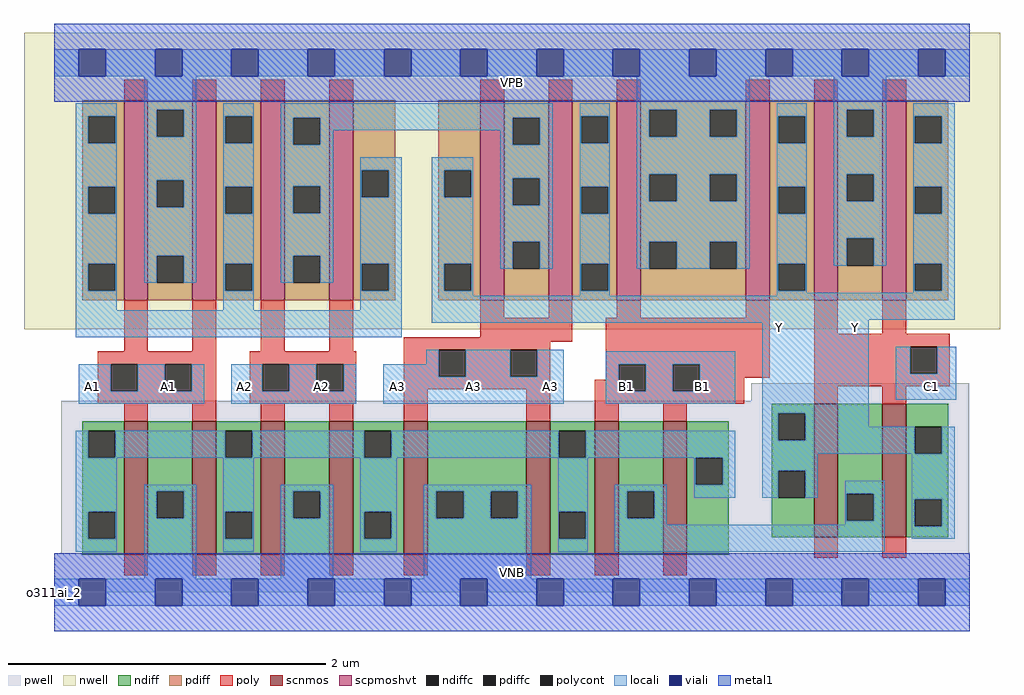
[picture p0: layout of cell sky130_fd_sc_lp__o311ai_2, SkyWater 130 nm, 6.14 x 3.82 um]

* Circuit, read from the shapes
.subckt sky130_fd_sc_lp__o311ai_2 A1 A2 A3 B1 C1 VGND VNB VPB VPWR Y
XM1 VGND A1 n1 VNB sky130_fd_pr__nfet_01v8 w=0.84 l=0.15 m=2
XM2 VGND A2 n1 VNB sky130_fd_pr__nfet_01v8 w=0.84 l=0.15 m=2
XM3 VGND A3 n1 VNB sky130_fd_pr__nfet_01v8 w=0.84 l=0.15 m=2
XM4 n2 B1 n1 VNB sky130_fd_pr__nfet_01v8 w=0.84 l=0.15 m=2
XM5 n2 C1 Y VNB sky130_fd_pr__nfet_01v8 w=0.84 l=0.15 m=2
XM6 VPWR A1 n3 VPB sky130_fd_pr__pfet_01v8_hvt w=1.26 l=0.15 m=2
XM7 n4 A2 n3 VPB sky130_fd_pr__pfet_01v8_hvt w=1.26 l=0.15 m=2
XM8 n4 A3 Y VPB sky130_fd_pr__pfet_01v8_hvt w=1.26 l=0.15 m=2
XM9 VPWR B1 Y VPB sky130_fd_pr__pfet_01v8_hvt w=1.26 l=0.15 m=2
XM10 VPWR C1 Y VPB sky130_fd_pr__pfet_01v8_hvt w=1.26 l=0.15 m=2
.ends

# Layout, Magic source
magic
tech sky130A
magscale 1 2
<< nwell >>
rect -38 331 1190 704
<< pwell >>
rect 877 241 1151 263
rect 9 49 1151 241
rect 0 0 1152 49
<< scnmos >>
rect 88 47 118 215
rect 174 47 204 215
rect 260 47 290 215
rect 346 47 376 215
rect 440 47 470 215
rect 594 47 624 215
rect 680 47 710 215
rect 766 47 796 215
rect 956 69 986 237
rect 1042 69 1072 237
<< scpmoshvt >>
rect 88 367 118 619
rect 174 367 204 619
rect 260 367 290 619
rect 346 367 376 619
rect 536 367 566 619
rect 622 367 652 619
rect 708 367 738 619
rect 870 367 900 619
rect 956 367 986 619
rect 1042 367 1072 619
<< ndiff >>
rect 903 225 956 237
rect 35 203 88 215
rect 35 169 43 203
rect 77 169 88 203
rect 35 101 88 169
rect 35 67 43 101
rect 77 67 88 101
rect 35 47 88 67
rect 118 127 174 215
rect 118 93 129 127
rect 163 93 174 127
rect 118 47 174 93
rect 204 203 260 215
rect 204 169 215 203
rect 249 169 260 203
rect 204 101 260 169
rect 204 67 215 101
rect 249 67 260 101
rect 204 47 260 67
rect 290 127 346 215
rect 290 93 301 127
rect 335 93 346 127
rect 290 47 346 93
rect 376 203 440 215
rect 376 169 390 203
rect 424 169 440 203
rect 376 101 440 169
rect 376 67 390 101
rect 424 67 440 101
rect 376 47 440 67
rect 470 127 594 215
rect 470 93 481 127
rect 515 93 549 127
rect 583 93 594 127
rect 470 47 594 93
rect 624 203 680 215
rect 624 169 635 203
rect 669 169 680 203
rect 624 101 680 169
rect 624 67 635 101
rect 669 67 680 101
rect 624 47 680 67
rect 710 127 766 215
rect 710 93 721 127
rect 755 93 766 127
rect 710 47 766 93
rect 796 169 849 215
rect 796 135 807 169
rect 841 135 849 169
rect 796 47 849 135
rect 903 191 911 225
rect 945 191 956 225
rect 903 153 956 191
rect 903 119 911 153
rect 945 119 956 153
rect 903 69 956 119
rect 986 124 1042 237
rect 986 90 997 124
rect 1031 90 1042 124
rect 986 69 1042 90
rect 1072 208 1125 237
rect 1072 174 1083 208
rect 1117 174 1125 208
rect 1072 117 1125 174
rect 1072 83 1083 117
rect 1117 83 1125 117
rect 1072 69 1125 83
<< pdiff >>
rect 35 599 88 619
rect 35 565 43 599
rect 77 565 88 599
rect 35 510 88 565
rect 35 476 43 510
rect 77 476 88 510
rect 35 413 88 476
rect 35 379 43 413
rect 77 379 88 413
rect 35 367 88 379
rect 118 607 174 619
rect 118 573 129 607
rect 163 573 174 607
rect 118 518 174 573
rect 118 484 129 518
rect 163 484 174 518
rect 118 423 174 484
rect 118 389 129 423
rect 163 389 174 423
rect 118 367 174 389
rect 204 599 260 619
rect 204 565 215 599
rect 249 565 260 599
rect 204 510 260 565
rect 204 476 215 510
rect 249 476 260 510
rect 204 413 260 476
rect 204 379 215 413
rect 249 379 260 413
rect 204 367 260 379
rect 290 597 346 619
rect 290 563 301 597
rect 335 563 346 597
rect 290 511 346 563
rect 290 477 301 511
rect 335 477 346 511
rect 290 423 346 477
rect 290 389 301 423
rect 335 389 346 423
rect 290 367 346 389
rect 376 531 429 619
rect 376 497 387 531
rect 421 497 429 531
rect 376 413 429 497
rect 376 379 387 413
rect 421 379 429 413
rect 376 367 429 379
rect 483 531 536 619
rect 483 497 491 531
rect 525 497 536 531
rect 483 413 536 497
rect 483 379 491 413
rect 525 379 536 413
rect 483 367 536 379
rect 566 597 622 619
rect 566 563 577 597
rect 611 563 622 597
rect 566 521 622 563
rect 566 487 577 521
rect 611 487 622 521
rect 566 441 622 487
rect 566 407 577 441
rect 611 407 622 441
rect 566 367 622 407
rect 652 599 708 619
rect 652 565 663 599
rect 697 565 708 599
rect 652 510 708 565
rect 652 476 663 510
rect 697 476 708 510
rect 652 413 708 476
rect 652 379 663 413
rect 697 379 708 413
rect 652 367 708 379
rect 738 607 870 619
rect 738 573 749 607
rect 783 573 825 607
rect 859 573 870 607
rect 738 526 870 573
rect 738 492 749 526
rect 783 492 825 526
rect 859 492 870 526
rect 738 441 870 492
rect 738 407 749 441
rect 783 407 825 441
rect 859 407 870 441
rect 738 367 870 407
rect 900 599 956 619
rect 900 565 911 599
rect 945 565 956 599
rect 900 510 956 565
rect 900 476 911 510
rect 945 476 956 510
rect 900 413 956 476
rect 900 379 911 413
rect 945 379 956 413
rect 900 367 956 379
rect 986 607 1042 619
rect 986 573 997 607
rect 1031 573 1042 607
rect 986 526 1042 573
rect 986 492 997 526
rect 1031 492 1042 526
rect 986 445 1042 492
rect 986 411 997 445
rect 1031 411 1042 445
rect 986 367 1042 411
rect 1072 599 1125 619
rect 1072 565 1083 599
rect 1117 565 1125 599
rect 1072 510 1125 565
rect 1072 476 1083 510
rect 1117 476 1125 510
rect 1072 413 1125 476
rect 1072 379 1083 413
rect 1117 379 1125 413
rect 1072 367 1125 379
<< ndiffc >>
rect 43 169 77 203
rect 43 67 77 101
rect 129 93 163 127
rect 215 169 249 203
rect 215 67 249 101
rect 301 93 335 127
rect 390 169 424 203
rect 390 67 424 101
rect 481 93 515 127
rect 549 93 583 127
rect 635 169 669 203
rect 635 67 669 101
rect 721 93 755 127
rect 807 135 841 169
rect 911 191 945 225
rect 911 119 945 153
rect 997 90 1031 124
rect 1083 174 1117 208
rect 1083 83 1117 117
<< pdiffc >>
rect 43 565 77 599
rect 43 476 77 510
rect 43 379 77 413
rect 129 573 163 607
rect 129 484 163 518
rect 129 389 163 423
rect 215 565 249 599
rect 215 476 249 510
rect 215 379 249 413
rect 301 563 335 597
rect 301 477 335 511
rect 301 389 335 423
rect 387 497 421 531
rect 387 379 421 413
rect 491 497 525 531
rect 491 379 525 413
rect 577 563 611 597
rect 577 487 611 521
rect 577 407 611 441
rect 663 565 697 599
rect 663 476 697 510
rect 663 379 697 413
rect 749 573 783 607
rect 825 573 859 607
rect 749 492 783 526
rect 825 492 859 526
rect 749 407 783 441
rect 825 407 859 441
rect 911 565 945 599
rect 911 476 945 510
rect 911 379 945 413
rect 997 573 1031 607
rect 997 492 1031 526
rect 997 411 1031 445
rect 1083 565 1117 599
rect 1083 476 1117 510
rect 1083 379 1117 413
<< poly >>
rect 88 619 118 645
rect 174 619 204 645
rect 260 619 290 645
rect 346 619 376 645
rect 536 619 566 645
rect 622 619 652 645
rect 708 619 738 645
rect 870 619 900 645
rect 956 619 986 645
rect 1042 619 1072 645
rect 88 303 118 367
rect 174 303 204 367
rect 260 303 290 367
rect 346 303 376 367
rect 536 345 566 367
rect 622 345 652 367
rect 708 345 738 367
rect 870 345 900 367
rect 536 321 652 345
rect 440 315 652 321
rect 440 305 624 315
rect 55 287 204 303
rect 55 253 71 287
rect 105 253 139 287
rect 173 253 204 287
rect 55 237 204 253
rect 246 287 380 303
rect 246 253 262 287
rect 296 253 330 287
rect 364 253 380 287
rect 246 237 380 253
rect 440 271 484 305
rect 518 271 574 305
rect 608 271 624 305
rect 440 255 624 271
rect 694 287 900 345
rect 694 267 710 287
rect 88 215 118 237
rect 174 215 204 237
rect 260 215 290 237
rect 346 215 376 237
rect 440 215 470 255
rect 594 215 624 255
rect 680 253 710 267
rect 744 253 778 287
rect 812 270 900 287
rect 956 325 986 367
rect 1042 325 1072 367
rect 956 309 1127 325
rect 956 275 1077 309
rect 1111 275 1127 309
rect 812 253 868 270
rect 680 237 868 253
rect 956 259 1127 275
rect 956 237 986 259
rect 1042 237 1072 259
rect 680 215 710 237
rect 766 215 796 237
rect 88 21 118 47
rect 174 21 204 47
rect 260 21 290 47
rect 346 21 376 47
rect 440 21 470 47
rect 594 21 624 47
rect 680 21 710 47
rect 766 21 796 47
rect 956 43 986 69
rect 1042 43 1072 69
<< polycont >>
rect 71 253 105 287
rect 139 253 173 287
rect 262 253 296 287
rect 330 253 364 287
rect 484 271 518 305
rect 574 271 608 305
rect 710 253 744 287
rect 778 253 812 287
rect 1077 275 1111 309
<< locali >>
rect 0 649 31 683
rect 65 649 127 683
rect 161 649 223 683
rect 257 649 319 683
rect 353 649 415 683
rect 449 649 511 683
rect 545 649 607 683
rect 641 649 703 683
rect 737 649 799 683
rect 833 649 895 683
rect 929 649 991 683
rect 1025 649 1087 683
rect 1121 649 1152 683
rect 27 599 79 615
rect 27 565 43 599
rect 77 565 79 599
rect 27 510 79 565
rect 27 476 43 510
rect 77 476 79 510
rect 27 413 79 476
rect 27 379 43 413
rect 77 379 79 413
rect 113 607 179 649
rect 113 573 129 607
rect 163 573 179 607
rect 113 518 179 573
rect 113 484 129 518
rect 163 484 179 518
rect 113 423 179 484
rect 113 389 129 423
rect 163 389 179 423
rect 213 599 251 615
rect 213 565 215 599
rect 249 565 251 599
rect 213 510 251 565
rect 213 476 215 510
rect 249 476 251 510
rect 213 413 251 476
rect 27 355 79 379
rect 213 379 215 413
rect 249 379 251 413
rect 285 597 627 615
rect 285 563 301 597
rect 335 581 577 597
rect 335 563 351 581
rect 285 511 351 563
rect 561 563 577 581
rect 611 563 627 597
rect 285 477 301 511
rect 335 477 351 511
rect 285 423 351 477
rect 285 389 301 423
rect 335 389 351 423
rect 385 531 437 547
rect 385 497 387 531
rect 421 497 437 531
rect 385 413 437 497
rect 213 355 251 379
rect 385 379 387 413
rect 421 379 437 413
rect 385 355 437 379
rect 27 321 437 355
rect 475 531 527 547
rect 475 497 491 531
rect 525 497 527 531
rect 475 413 527 497
rect 475 379 491 413
rect 525 379 527 413
rect 561 521 627 563
rect 561 487 577 521
rect 611 487 627 521
rect 561 441 627 487
rect 561 407 577 441
rect 611 407 627 441
rect 661 599 699 615
rect 661 565 663 599
rect 697 565 699 599
rect 661 510 699 565
rect 661 476 663 510
rect 697 476 699 510
rect 661 413 699 476
rect 475 373 527 379
rect 661 379 663 413
rect 697 379 699 413
rect 733 607 875 649
rect 733 573 749 607
rect 783 573 825 607
rect 859 573 875 607
rect 733 526 875 573
rect 733 492 749 526
rect 783 492 825 526
rect 859 492 875 526
rect 733 441 875 492
rect 733 407 749 441
rect 783 407 825 441
rect 859 407 875 441
rect 909 599 947 615
rect 909 565 911 599
rect 945 565 947 599
rect 909 510 947 565
rect 909 476 911 510
rect 945 476 947 510
rect 909 413 947 476
rect 661 373 699 379
rect 909 379 911 413
rect 945 379 947 413
rect 981 607 1047 649
rect 981 573 997 607
rect 1031 573 1047 607
rect 981 526 1047 573
rect 981 492 997 526
rect 1031 492 1047 526
rect 981 445 1047 492
rect 981 411 997 445
rect 1031 411 1047 445
rect 1081 599 1133 615
rect 1081 565 1083 599
rect 1117 565 1133 599
rect 1081 510 1133 565
rect 1081 476 1083 510
rect 1117 476 1133 510
rect 1081 413 1133 476
rect 909 377 947 379
rect 1081 379 1083 413
rect 1117 379 1133 413
rect 1081 377 1133 379
rect 909 373 1133 377
rect 475 343 1133 373
rect 475 339 1025 343
rect 468 287 484 305
rect 31 253 71 287
rect 105 253 139 287
rect 173 253 189 287
rect 31 237 189 253
rect 223 253 262 287
rect 296 253 330 287
rect 364 253 380 287
rect 223 237 380 253
rect 414 271 484 287
rect 518 271 574 305
rect 608 271 641 305
rect 414 237 641 271
rect 694 287 857 303
rect 694 253 710 287
rect 744 253 778 287
rect 812 253 857 287
rect 694 237 857 253
rect 891 225 1025 339
rect 1059 275 1077 309
rect 1111 275 1135 309
rect 1059 242 1135 275
rect 27 169 43 203
rect 77 169 215 203
rect 249 169 390 203
rect 424 169 635 203
rect 669 169 857 203
rect 27 101 79 169
rect 27 67 43 101
rect 77 67 79 101
rect 27 51 79 67
rect 113 127 179 135
rect 113 93 129 127
rect 163 93 179 127
rect 113 17 179 93
rect 213 101 251 169
rect 213 67 215 101
rect 249 67 251 101
rect 213 51 251 67
rect 285 127 351 135
rect 285 93 301 127
rect 335 93 351 127
rect 285 17 351 93
rect 385 101 431 169
rect 385 67 390 101
rect 424 67 431 101
rect 385 51 431 67
rect 465 127 600 135
rect 465 93 481 127
rect 515 93 549 127
rect 583 93 600 127
rect 465 17 600 93
rect 634 101 671 169
rect 805 135 807 169
rect 841 135 857 169
rect 634 67 635 101
rect 669 67 671 101
rect 634 51 671 67
rect 705 127 771 135
rect 705 93 721 127
rect 755 93 771 127
rect 805 119 857 135
rect 891 191 911 225
rect 945 208 1025 225
rect 945 191 1083 208
rect 891 174 1083 191
rect 1117 174 1133 208
rect 891 153 961 174
rect 891 119 911 153
rect 945 119 961 153
rect 995 124 1045 140
rect 705 85 771 93
rect 995 90 997 124
rect 1031 90 1045 124
rect 995 85 1045 90
rect 705 51 1045 85
rect 1079 117 1133 174
rect 1079 83 1083 117
rect 1117 83 1133 117
rect 1079 67 1133 83
rect 0 -17 31 17
rect 65 -17 127 17
rect 161 -17 223 17
rect 257 -17 319 17
rect 353 -17 415 17
rect 449 -17 511 17
rect 545 -17 607 17
rect 641 -17 703 17
rect 737 -17 799 17
rect 833 -17 895 17
rect 929 -17 991 17
rect 1025 -17 1087 17
rect 1121 -17 1152 17
<< viali >>
rect 31 649 65 683
rect 127 649 161 683
rect 223 649 257 683
rect 319 649 353 683
rect 415 649 449 683
rect 511 649 545 683
rect 607 649 641 683
rect 703 649 737 683
rect 799 649 833 683
rect 895 649 929 683
rect 991 649 1025 683
rect 1087 649 1121 683
rect 31 -17 65 17
rect 127 -17 161 17
rect 223 -17 257 17
rect 319 -17 353 17
rect 415 -17 449 17
rect 511 -17 545 17
rect 607 -17 641 17
rect 703 -17 737 17
rect 799 -17 833 17
rect 895 -17 929 17
rect 991 -17 1025 17
rect 1087 -17 1121 17
<< metal1 >>
rect 0 683 1152 715
rect 0 649 31 683
rect 65 649 127 683
rect 161 649 223 683
rect 257 649 319 683
rect 353 649 415 683
rect 449 649 511 683
rect 545 649 607 683
rect 641 649 703 683
rect 737 649 799 683
rect 833 649 895 683
rect 929 649 991 683
rect 1025 649 1087 683
rect 1121 649 1152 683
rect 0 617 1152 649
rect 0 17 1152 49
rect 0 -17 31 17
rect 65 -17 127 17
rect 161 -17 223 17
rect 257 -17 319 17
rect 353 -17 415 17
rect 449 -17 511 17
rect 545 -17 607 17
rect 641 -17 703 17
rect 737 -17 799 17
rect 833 -17 895 17
rect 929 -17 991 17
rect 1025 -17 1087 17
rect 1121 -17 1152 17
rect 0 -49 1152 -17
<< labels >>
flabel pwell s 0 0 1152 49 0 FreeSans 200 0 0 0 VNB
port 7 nsew ground bidirectional
flabel nwell s 0 617 1152 666 0 FreeSans 200 0 0 0 VPB
port 8 nsew power bidirectional
rlabel comment s 0 0 0 0 4 o311ai_2
flabel metal1 s 0 617 1152 666 0 FreeSans 340 0 0 0 VPWR
port 9 nsew power bidirectional
flabel metal1 s 0 0 1152 49 0 FreeSans 340 0 0 0 VGND
port 6 nsew ground bidirectional
flabel locali s 31 242 65 276 0 FreeSans 340 0 0 0 A1
port 1 nsew signal input
flabel locali s 127 242 161 276 0 FreeSans 340 0 0 0 A1
port 1 nsew signal input
flabel locali s 319 242 353 276 0 FreeSans 340 0 0 0 A2
port 2 nsew signal input
flabel locali s 511 242 545 276 0 FreeSans 340 0 0 0 A3
port 3 nsew signal input
flabel locali s 607 242 641 276 0 FreeSans 340 0 0 0 A3
port 3 nsew signal input
flabel locali s 703 242 737 276 0 FreeSans 340 0 0 0 B1
port 4 nsew signal input
flabel locali s 895 316 929 350 0 FreeSans 340 0 0 0 Y
port 10 nsew signal output
flabel locali s 991 316 1025 350 0 FreeSans 340 0 0 0 Y
port 10 nsew signal output
flabel locali s 799 242 833 276 0 FreeSans 340 0 0 0 B1
port 4 nsew signal input
flabel locali s 1087 242 1121 276 0 FreeSans 340 0 0 0 C1
port 5 nsew signal input
flabel locali s 415 242 449 276 0 FreeSans 340 0 0 0 A3
port 3 nsew signal input
flabel locali s 223 242 257 276 0 FreeSans 340 0 0 0 A2
port 2 nsew signal input
<< properties >>
string LEFsite unit
string LEFclass CORE
string FIXED_BBOX 0 0 1152 666
string GDS_FILE $PDKPATH/libs.ref/sky130_fd_sc_lp/gds/sky130_fd_sc_lp.gds
string LEFsymmetry X Y R90
string GDS_END 1416736
string GDS_START 1405770
<< end >>
